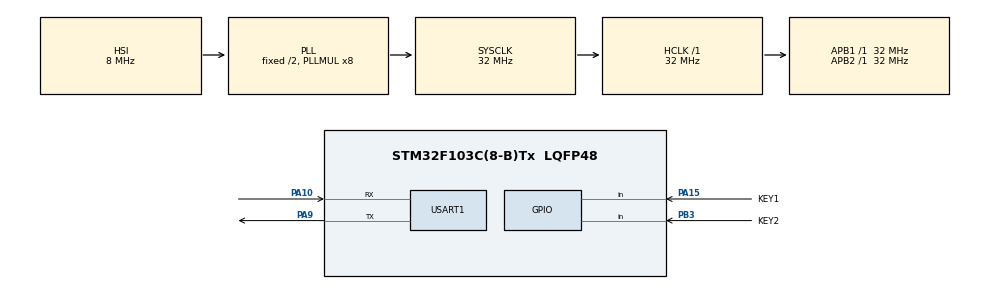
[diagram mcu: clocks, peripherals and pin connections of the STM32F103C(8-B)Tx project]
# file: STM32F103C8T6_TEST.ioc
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Mcu.Family=STM32F1
Mcu.Name=STM32F103C(8-B)Tx
Mcu.Package=LQFP48
NVIC.PriorityGroup=NVIC_PRIORITYGROUP_4
NVIC.USART1_IRQn=true\:0\:0\:false\:false\:true\:true
PA10.Mode=Asynchronous
PA10.Signal=USART1_RX
PA15.GPIO_Label=KEY1
PA15.GPIO_PuPd=GPIO_PULLUP
PA15.Signal=GPIO_Input
PA9.Mode=Asynchronous
PA9.Signal=USART1_TX
PB3.GPIO_Label=KEY2
PB3.GPIO_PuPd=GPIO_PULLUP
PB3.Signal=GPIO_Input
ProjectManager.HeapSize=0x200
ProjectManager.StackSize=0x400
ProjectManager.TargetToolchain=MDK-ARM V5
RCC.AHBFreq_Value=32000000
RCC.APB1Freq_Value=32000000
RCC.APB1TimFreq_Value=32000000
RCC.APB2Freq_Value=32000000
RCC.APB2TimFreq_Value=32000000
RCC.HCLKFreq_Value=32000000
RCC.PLLMUL=RCC_PLL_MUL8
RCC.SYSCLKFreq_VALUE=32000000
RCC.SYSCLKSource=RCC_SYSCLKSOURCE_PLLCLK
RCC.USBFreq_Value=32000000
USART1.VirtualMode=VM_ASYNC
VP_SYS_VS_ND.Mode=No_Debug
board=custom

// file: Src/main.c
/**
  ******************************************************************************
  * @file           : main.c
  * @brief          : Main program body
  ******************************************************************************
  ** This notice applies to any and all portions of this file
  * that are not between comment pairs USER CODE BEGIN and
  * USER CODE END. Other portions of this file, whether
  * inserted by the user or by software development tools
  * are owned by their respective copyright owners.
  *
  * COPYRIGHT(c) 2019 STMicroelectronics
  *
  * Redistribution and use in source and binary forms, with or without modification,
  * are permitted provided that the following conditions are met:
  *   1. Redistributions of source code must retain the above copyright notice,
  *      this list of conditions and the following disclaimer.
  *   2. Redistributions in binary form must reproduce the above copyright notice,
  *      this list of conditions and the following disclaimer in the documentation
  *      and/or other materials provided with the distribution.
  *   3. Neither the name of STMicroelectronics nor the names of its contributors
  *      may be used to endorse or promote products derived from this software
  *      without specific prior written permission.
  *
  * THIS SOFTWARE IS PROVIDED BY THE COPYRIGHT HOLDERS AND CONTRIBUTORS "AS IS"
  * AND ANY EXPRESS OR IMPLIED WARRANTIES, INCLUDING, BUT NOT LIMITED TO, THE
  * IMPLIED WARRANTIES OF MERCHANTABILITY AND FITNESS FOR A PARTICULAR PURPOSE ARE
  * DISCLAIMED. IN NO EVENT SHALL THE COPYRIGHT HOLDER OR CONTRIBUTORS BE LIABLE
  * FOR ANY DIRECT, INDIRECT, INCIDENTAL, SPECIAL, EXEMPLARY, OR CONSEQUENTIAL
  * DAMAGES (INCLUDING, BUT NOT LIMITED TO, PROCUREMENT OF SUBSTITUTE GOODS OR
  * SERVICES; LOSS OF USE, DATA, OR PROFITS; OR BUSINESS INTERRUPTION) HOWEVER
  * CAUSED AND ON ANY THEORY OF LIABILITY, WHETHER IN CONTRACT, STRICT LIABILITY,
  * OR TORT (INCLUDING NEGLIGENCE OR OTHERWISE) ARISING IN ANY WAY OUT OF THE USE
  * OF THIS SOFTWARE, EVEN IF ADVISED OF THE POSSIBILITY OF SUCH DAMAGE.
  *
  ******************************************************************************
  */
#include "main.h"
#include "stm32f1xx_hal.h"
#include "usart.h"
#include "gpio.h"
#include "si7020/si7020_iic.h"
#include "pcf8563/pcf8563.h"
#include "bh1750/bh1750.h"
#include "tm1638/tm1638.h"
#include "hal_dev_ctrl.h"

/* USER CODE BEGIN PV */
/* Private variables ---------------------------------------------------------*/

/* USER CODE END PV */

void SystemClock_Config(void);

/* USER CODE BEGIN PFP */
/* Private function prototypes -----------------------------------------------*/

/* USER CODE END PFP */

/* USER CODE BEGIN 0 */
//uint8_t aTxStartMessages[] = "\r\n******UART commucition using IT******\r\nPlease enter 10 characters:\r\n";
//uint8_t aRxBuffer[20];

/* USER CODE BEGIN PV */
/* 重定向printf函数	begin*/
#include "stdio.h"
#ifdef __GNUC__
#define PUTCHAR_PROTOTYPE int __io_putchar(int ch)
#else
#define PUTCHAR_PROTOTYPE int fputc(int ch, FILE *f)
#endif /* __GNUC__ */
__IO ITStatus USART1Ready = RESET;

PUTCHAR_PROTOTYPE
{
	HAL_UART_Transmit_IT(&huart1 , (uint8_t *)&ch, 1);
	while (USART1Ready != SET)
  {
  }
	USART1Ready = RESET;
	return ch;
}
 /**
  * @brief  Tx Transfer completed callbacks.
  * @param  huart: pointer to a UART_HandleTypeDef structure that contains
  *                the configuration information for the specified UART module.
  * @retval None
  */
void HAL_UART_TxCpltCallback(UART_HandleTypeDef *huart)
{
  /* NOTE: This function Should not be modified, when the callback is needed,
           the HAL_UART_TxCpltCallback could be implemented in the user file
   */
	USART1Ready = SET;
}
/* 重定向printf函数	end*/
/* USER CODE END PV */

/* USER CODE END 0 */

void delay(uint32_t  t)
{
	uint32_t i,j;
	for(i=0;i<t;i++)
	{
		for(j=0;j<1000;j++)
		;
	}
}
double si7020_temperature;
double si7020_humidity;
uint8_t time_buffer1[8];
uint8_t time_buffer[8];
extern uint8_t duan_tab[];
uint8_t displayNumber[10]={0};
int main(void)
{

  /* MCU Configuration----------------------------------------------------------*/

  /* Reset of all peripherals, Initializes the Flash interface and the Systick. */
  HAL_Init();

  /* Configure the system clock */
  SystemClock_Config();

  /* Initialize all configured peripherals */
  MX_GPIO_Init();
  MX_USART1_UART_Init();
  SI7020_IIC_Init();
  PCF8563_IIC_Init();
  PCF8563_WriteTime();
  BH1750_IIC_Init();
  singleWriteBH1750(0x01);
  TM1638_Init();
  /* USER CODE BEGIN 2 */
	uint16_t d=32;
//	uint8_t i;
//	for(i=0;i<8;i++)	//全部显示0
//	{
//		writeData(i<<1,tab[0]);
//	}
//	writeCMD(0x44);//普通模式，固定地址
//	HAL_GPIO_WritePin(TM1638_STB_GPIO_Port,TM1638_STB_Pin,GPIO_PIN_RESET);
//	TM1638_Write(0x02);
//	TM1638_Write(0x3f);
//	HAL_GPIO_WritePin(TM1638_STB_GPIO_Port,TM1638_STB_Pin,GPIO_PIN_SET);
//	HAL_UART_Transmit_IT(&huart1 ,(uint8_t*)aTxStartMessages,sizeof(aTxStartMessages)); //sizeof()可读取目标长度
//	HAL_UART_Receive_IT(&huart1,(uint8_t*)aRxBuffer,10);

	printf ("Hello STM%d!\r\n",d);
	printf ("Hello STM%dF103!\r\n",d);
  /* USER CODE END 2 */

  /* Infinite loop */
  while (1)
  {

  /* USER CODE BEGIN 3 */
	  uint8_t j;
	  delay(5000);
	  si7020Measure( &si7020_temperature, &si7020_humidity);
	  printf("temperature = %d\r\n",((int)(si7020_temperature*10)));
	  PCF8563_ReadTime(time_buffer1);
	  printf("%d%d-%d%d-%d%d  %d%d:%d%d:%d%d \r\n",time_buffer[1]/10,time_buffer[1]%10,time_buffer[2]/10,time_buffer[2]%10,time_buffer[3]/10,time_buffer[3]%10,time_buffer[4]/10,time_buffer[4]%10,time_buffer[5]/10,time_buffer[5]%10,time_buffer[6]/10,time_buffer[6]%10);
	  singleWriteBH1750(0x01);
	  singleWriteBH1750(0x10);
	  delay(500);
	  multipleReadBH1750();
	displayNumber[0]=time_buffer[4]/10;
	displayNumber[1]=time_buffer[4]%10;
	displayNumber[2]=time_buffer[5]/10;
	displayNumber[3]=time_buffer[5]%10;
	displayNumber[4]=(uint16_t)(si7020_temperature*10)/100;
	displayNumber[5]=(uint16_t)(si7020_temperature*10)%100/10;
	displayNumber[6]=(uint16_t)(si7020_temperature*10)%10;
	displayNumber[7]=7;
	displayNumber[8]=8;
	displayNumber[9]=9;

	display(displayNumber,(time_buffer[6]%10)&0x01);
	task_handle();
  }
  /* USER CODE END 3 */

}

void SystemClock_Config(void)
{

  RCC_OscInitTypeDef RCC_OscInitStruct;
  RCC_ClkInitTypeDef RCC_ClkInitStruct;

    /**Initializes the CPU, AHB and APB busses clocks
    */
  RCC_OscInitStruct.OscillatorType = RCC_OSCILLATORTYPE_HSI;
  RCC_OscInitStruct.HSIState = RCC_HSI_ON;
  RCC_OscInitStruct.HSICalibrationValue = 16;
  RCC_OscInitStruct.PLL.PLLState = RCC_PLL_ON;
  RCC_OscInitStruct.PLL.PLLSource = RCC_PLLSOURCE_HSI_DIV2;
  RCC_OscInitStruct.PLL.PLLMUL = RCC_PLL_MUL8;
  if (HAL_RCC_OscConfig(&RCC_OscInitStruct) != HAL_OK)
  {
    _Error_Handler(__FILE__, __LINE__);
  }

    /**Initializes the CPU, AHB and APB busses clocks
    */
  RCC_ClkInitStruct.ClockType = RCC_CLOCKTYPE_HCLK|RCC_CLOCKTYPE_SYSCLK
                              |RCC_CLOCKTYPE_PCLK1|RCC_CLOCKTYPE_PCLK2;
  RCC_ClkInitStruct.SYSCLKSource = RCC_SYSCLKSOURCE_PLLCLK;
  RCC_ClkInitStruct.AHBCLKDivider = RCC_SYSCLK_DIV1;
  RCC_ClkInitStruct.APB1CLKDivider = RCC_HCLK_DIV1;
  RCC_ClkInitStruct.APB2CLKDivider = RCC_HCLK_DIV1;

  if (HAL_RCC_ClockConfig(&RCC_ClkInitStruct, FLASH_LATENCY_1) != HAL_OK)
  {
    _Error_Handler(__FILE__, __LINE__);
  }

    /**Configure the Systick interrupt time
    */
  HAL_SYSTICK_Config(HAL_RCC_GetHCLKFreq()/1000);

    /**Configure the Systick
    */
  HAL_SYSTICK_CLKSourceConfig(SYSTICK_CLKSOURCE_HCLK);

  /* SysTick_IRQn interrupt configuration */
  HAL_NVIC_SetPriority(SysTick_IRQn, 0, 0);
}

void _Error_Handler(char *file, int line)
{
  while(1)
  {
  }
}

/************************ (C) COPYRIGHT STMicroelectronics *****END OF FILE****/
